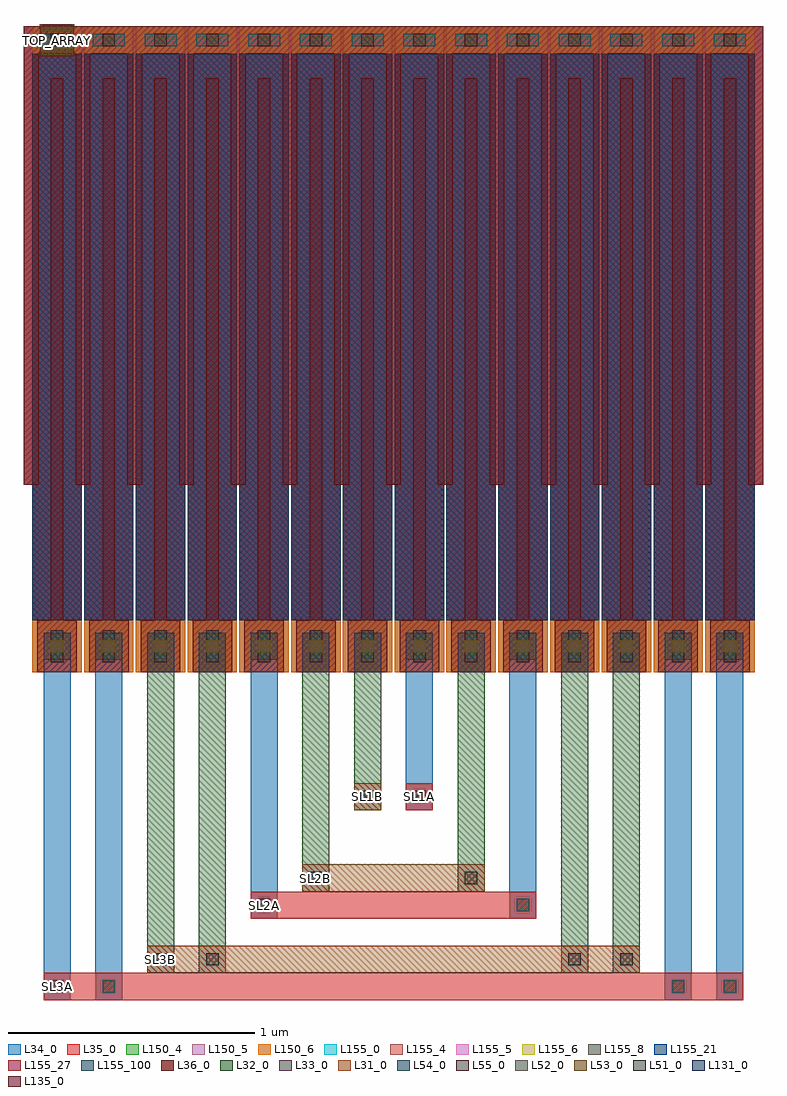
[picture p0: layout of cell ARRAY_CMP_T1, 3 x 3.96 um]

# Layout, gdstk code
from math import pi, radians
import gdstk
lib = gdstk.Library(unit=1e-6, precision=1e-09)
def R(c, l, rs):  # rectangles x0, y0, x1, y1
    for r in rs: c.add(gdstk.rectangle(r[:2], r[2:], *l))
def A(c, l, x, y, w, h, nx, ny, dx, dy):  # array of equal rectangles
    R(c, l, [(x+i*dx, y+j*dy, x+i*dx+w, y+j*dy+h) for i in range(nx) for j in range(ny)])
L31_0 = (31, 0)
L32_0 = (32, 0)
L33_0 = (33, 0)
L34_0 = (34, 0)
L35_0 = (35, 0)
L36_0 = (36, 0)
L51_0 = (51, 0)
L52_0 = (52, 0)
L53_0 = (53, 0)
L54_0 = (54, 0)
L55_0 = (55, 0)
L131_0 = (131, 0)
L135_0 = (135, 0)
L150_4 = (150, 4)
L150_5 = (150, 5)
L150_6 = (150, 6)
L155_0 = (155, 0)
L155_4 = (155, 4)
L155_5 = (155, 5)
L155_6 = (155, 6)
L155_8 = (155, 8)
L155_21 = (155, 21)
L155_27 = (155, 27)
L155_100 = (155, 100)

m5_m4_cdns_619517610567 = lib.new_cell('M5_M4_CDNS_619517610567')
R(m5_m4_cdns_619517610567, L34_0, [(-0.07,-0.105,0.07,0.105)])
R(m5_m4_cdns_619517610567, L35_0, [(-0.07,-0.105,0.07,0.105)])
R(m5_m4_cdns_619517610567, L54_0, [(-0.025,-0.065,0.025,0.065)])

m6_m5_cdns_619517610568 = lib.new_cell('M6_M5_CDNS_619517610568')
R(m6_m5_cdns_619517610568, L35_0, [(-0.07,-0.105,0.07,0.105)])
R(m6_m5_cdns_619517610568, L36_0, [(-0.055,-0.105,0.055,0.105)])
R(m6_m5_cdns_619517610568, L55_0, [(-0.025,-0.065,0.025,0.065)])

m5_m4_cdns_619517610569 = lib.new_cell('M5_M4_CDNS_619517610569')
R(m5_m4_cdns_619517610569, L34_0, [(-0.095,-0.055,0.095,0.055)])
R(m5_m4_cdns_619517610569, L35_0, [(-0.12,-0.055,0.12,0.055)])
R(m5_m4_cdns_619517610569, L54_0, [(-0.065,-0.025,0.065,0.025)])

m6_m5_cdns_6195176105610 = lib.new_cell('M6_M5_CDNS_6195176105610')
R(m6_m5_cdns_6195176105610, L35_0, [(-0.055,-0.055,0.055,0.055)])
R(m6_m5_cdns_6195176105610, L36_0, [(-0.055,-0.055,0.055,0.055)])
R(m6_m5_cdns_6195176105610, L55_0, [(-0.025,-0.025,0.025,0.025)])

cu1f = lib.new_cell('CU1F')
R(cu1f, L34_0, [(0.02,0,0.18,0.21), (-0.035,2.51,0.235,2.62)])
R(cu1f, L35_0, [(0.02,0,0.18,0.21), (-0.035,2.51,0.235,2.62)])
R(cu1f, L36_0, [(0.02,0,0.18,0.21), (-0.035,2.51,0.235,2.62)])
R(cu1f, L150_4, [(0,0,0.2,2.62)])
R(cu1f, L150_5, [(0,0,0.2,2.62)])
R(cu1f, L150_6, [(0,0,0.2,2.62)])
R(cu1f, L155_0, [(0,0.21,0.2,2.51)])
R(cu1f, L155_4, [(0,0.21,0.2,2.51)])
R(cu1f, L155_5, [(0,0.21,0.2,2.51)])
R(cu1f, L155_6, [(0,0.21,0.2,2.51)])
R(cu1f, L155_8, [(0,0.21,0.2,2.51)])
R(cu1f, L155_21, [(0,0.21,0.2,2.51)])
R(cu1f, L155_27, [(0,0.21,0.2,2.51)])
R(cu1f, L155_100, [(0,0.21,0.2,2.51)])
cu1f.add(gdstk.FlexPath([(0.205,2.59),(0.205,0.76)], 0.06, ends=(0.03, 0), simple_path=True, layer=34, datatype=0))  # L34_0
cu1f.add(gdstk.FlexPath([(0.1,2.41),(0.1,0)], 0.05, ends="flush", simple_path=True, layer=34, datatype=0))  # L34_0
cu1f.add(gdstk.FlexPath([(-0.005,2.59),(-0.005,0.76)], 0.06, ends=(0.03, 0), simple_path=True, layer=34, datatype=0))  # L34_0
cu1f.add(gdstk.FlexPath([(0.205,0.76),(0.205,2.59)], 0.06, ends=(0, 0.03), simple_path=True, layer=35, datatype=0))  # L35_0
cu1f.add(gdstk.FlexPath([(0.1,2.41),(0.1,0)], 0.05, ends="flush", simple_path=True, layer=35, datatype=0))  # L35_0
cu1f.add(gdstk.FlexPath([(-0.005,0.76),(-0.005,2.59)], 0.06, ends=(0, 0.03), simple_path=True, layer=35, datatype=0))  # L35_0
cu1f.add(gdstk.FlexPath([(0.205,0.76),(0.205,2.59)], 0.06, ends=(0, 0.03), simple_path=True, layer=36, datatype=0))  # L36_0
cu1f.add(gdstk.FlexPath([(0.1,2.41),(0.1,0)], 0.05, ends="flush", simple_path=True, layer=36, datatype=0))  # L36_0
cu1f.add(gdstk.FlexPath([(-0.005,0.76),(-0.005,2.59)], 0.06, ends=(0, 0.03), simple_path=True, layer=36, datatype=0))  # L36_0
cu1f.add(gdstk.Reference(m5_m4_cdns_619517610567, (0.1,0.105), rotation=pi, x_reflection=True))
cu1f.add(gdstk.Reference(m6_m5_cdns_619517610568, (0.1,0.105), rotation=pi, x_reflection=True))
cu1f.add(gdstk.Reference(m5_m4_cdns_619517610569, (0.1,2.565)))
cu1f.add(gdstk.Reference(m6_m5_cdns_6195176105610, (0.1,2.565)))

m2_m1_cdns_619517610560 = lib.new_cell('M2_M1_CDNS_619517610560')
R(m2_m1_cdns_619517610560, L31_0, [(-0.055,-0.055,0.055,0.055)])
R(m2_m1_cdns_619517610560, L32_0, [(-0.055,-0.055,0.055,0.055)])
R(m2_m1_cdns_619517610560, L51_0, [(-0.025,-0.025,0.025,0.025)])

m3_m2_cdns_619517610561 = lib.new_cell('M3_M2_CDNS_619517610561')
R(m3_m2_cdns_619517610561, L32_0, [(-0.055,-0.055,0.055,0.055)])
R(m3_m2_cdns_619517610561, L33_0, [(-0.055,-0.055,0.055,0.055)])
R(m3_m2_cdns_619517610561, L52_0, [(-0.025,-0.025,0.025,0.025)])

m4_m3_cdns_619517610562 = lib.new_cell('M4_M3_CDNS_619517610562')
R(m4_m3_cdns_619517610562, L33_0, [(-0.055,-0.055,0.055,0.055)])
R(m4_m3_cdns_619517610562, L34_0, [(-0.055,-0.055,0.055,0.055)])
R(m4_m3_cdns_619517610562, L53_0, [(-0.025,-0.025,0.025,0.025)])

m4_m3_cdns_619517610563 = lib.new_cell('M4_M3_CDNS_619517610563')
R(m4_m3_cdns_619517610563, L33_0, [(-0.07,-0.065,0.07,0.065)])
R(m4_m3_cdns_619517610563, L34_0, [(-0.055,-0.055,0.055,0.055)])
R(m4_m3_cdns_619517610563, L53_0, [(-0.025,-0.025,0.025,0.025)])

m3_m2_cdns_619517610564 = lib.new_cell('M3_M2_CDNS_619517610564')
R(m3_m2_cdns_619517610564, L32_0, [(-0.065,-0.06,0.065,0.06)])
R(m3_m2_cdns_619517610564, L33_0, [(-0.07,-0.065,0.07,0.065)])
R(m3_m2_cdns_619517610564, L52_0, [(-0.025,-0.025,0.025,0.025)])

m2_m1_cdns_619517610565 = lib.new_cell('M2_M1_CDNS_619517610565')
R(m2_m1_cdns_619517610565, L31_0, [(-0.055,-0.055,0.055,0.055)])
R(m2_m1_cdns_619517610565, L32_0, [(-0.065,-0.06,0.065,0.06)])
R(m2_m1_cdns_619517610565, L51_0, [(-0.025,-0.025,0.025,0.025)])

m5_m4_cdns_619517610566 = lib.new_cell('M5_M4_CDNS_619517610566')
R(m5_m4_cdns_619517610566, L34_0, [(-0.055,-0.055,0.055,0.055)])
R(m5_m4_cdns_619517610566, L35_0, [(-0.055,-0.055,0.055,0.055)])
R(m5_m4_cdns_619517610566, L54_0, [(-0.025,-0.025,0.025,0.025)])

array_cmp_t1 = lib.new_cell('ARRAY_CMP_T1')
R(array_cmp_t1, L31_0, [(0.465,-1.22,2.465,-1.11), (1.095,-0.89,1.835,-0.78), (1.305,-0.56,1.415,-0.45), (0.03,2.5,0.17,2.63)])
R(array_cmp_t1, L32_0, [(0.465,-1.22,0.575,0.16), (0.675,-1.22,0.785,0.16), (2.145,-1.22,2.255,0.16), (2.355,-1.22,2.465,0.16), (1.095,-0.89,1.205,0.16), (1.725,-0.89,1.835,0.16), (1.305,-0.56,1.415,0.16)])
A(array_cmp_t1, L33_0, 0.045, 0, 0.11, 0.16, 14, 1, 0.21, 0)
R(array_cmp_t1, L34_0, [(0.045,-1.33,0.155,0.16), (0.255,-1.33,0.365,0.16), (2.565,-1.33,2.675,0.16), (2.775,-1.33,2.885,0.16), (0.885,-1,0.995,0.16), (1.935,-1,2.045,0.16), (1.515,-0.56,1.625,0.16)])
R(array_cmp_t1, L35_0, [(0.045,-1.33,2.885,-1.22), (0.885,-1,2.045,-0.89), (1.515,-0.56,1.625,-0.45)])
R(array_cmp_t1, L131_0, [(0.495,-1.19,0.545,-1.14), (1.125,-0.86,1.175,-0.81), (1.335,-0.53,1.385,-0.48), (0.075,2.54,0.125,2.59)])
R(array_cmp_t1, L135_0, [(0.075,-1.3,0.125,-1.25), (0.915,-0.97,0.965,-0.92), (1.545,-0.53,1.595,-0.48)])
array_cmp_t1.add(gdstk.Reference(cu1f, (2.73,0)))
array_cmp_t1.add(gdstk.Reference(cu1f, (2.52,0)))
array_cmp_t1.add(gdstk.Reference(cu1f, (2.31,0)))
array_cmp_t1.add(gdstk.Reference(cu1f, (2.1,0)))
array_cmp_t1.add(gdstk.Reference(cu1f, (1.89,0)))
array_cmp_t1.add(gdstk.Reference(cu1f, (1.68,0)))
array_cmp_t1.add(gdstk.Reference(cu1f, (1.47,0)))
array_cmp_t1.add(gdstk.Reference(cu1f, (1.26,0)))
array_cmp_t1.add(gdstk.Reference(cu1f, (1.05,0)))
array_cmp_t1.add(gdstk.Reference(cu1f, (0.84,0)))
array_cmp_t1.add(gdstk.Reference(cu1f, (0.63,0)))
array_cmp_t1.add(gdstk.Reference(cu1f, (0.42,0)))
array_cmp_t1.add(gdstk.Reference(cu1f, (0.21,0)))
array_cmp_t1.add(gdstk.Reference(cu1f, (0,0)))
array_cmp_t1.add(gdstk.Reference(m2_m1_cdns_619517610560, (1.36,-0.505)))
array_cmp_t1.add(gdstk.Reference(m2_m1_cdns_619517610560, (1.15,-0.835)))
array_cmp_t1.add(gdstk.Reference(m2_m1_cdns_619517610560, (1.78,-0.835)))
array_cmp_t1.add(gdstk.Reference(m2_m1_cdns_619517610560, (0.73,-1.165)))
array_cmp_t1.add(gdstk.Reference(m2_m1_cdns_619517610560, (0.52,-1.165)))
array_cmp_t1.add(gdstk.Reference(m2_m1_cdns_619517610560, (2.2,-1.165)))
array_cmp_t1.add(gdstk.Reference(m2_m1_cdns_619517610560, (2.41,-1.165)))
array_cmp_t1.add(gdstk.Reference(m3_m2_cdns_619517610561, (0.1,0.105)))
array_cmp_t1.add(gdstk.Reference(m3_m2_cdns_619517610561, (0.31,0.105)))
array_cmp_t1.add(gdstk.Reference(m3_m2_cdns_619517610561, (0.52,0.105)))
array_cmp_t1.add(gdstk.Reference(m3_m2_cdns_619517610561, (0.73,0.105)))
array_cmp_t1.add(gdstk.Reference(m3_m2_cdns_619517610561, (0.94,0.105)))
array_cmp_t1.add(gdstk.Reference(m3_m2_cdns_619517610561, (1.15,0.105)))
array_cmp_t1.add(gdstk.Reference(m3_m2_cdns_619517610561, (1.36,0.105)))
array_cmp_t1.add(gdstk.Reference(m3_m2_cdns_619517610561, (1.57,0.105)))
array_cmp_t1.add(gdstk.Reference(m3_m2_cdns_619517610561, (1.78,0.105)))
array_cmp_t1.add(gdstk.Reference(m3_m2_cdns_619517610561, (1.99,0.105)))
array_cmp_t1.add(gdstk.Reference(m3_m2_cdns_619517610561, (2.2,0.105)))
array_cmp_t1.add(gdstk.Reference(m3_m2_cdns_619517610561, (2.41,0.105)))
array_cmp_t1.add(gdstk.Reference(m3_m2_cdns_619517610561, (2.62,0.105)))
array_cmp_t1.add(gdstk.Reference(m3_m2_cdns_619517610561, (2.83,0.105)))
array_cmp_t1.add(gdstk.Reference(m4_m3_cdns_619517610562, (0.1,0.105)))
array_cmp_t1.add(gdstk.Reference(m4_m3_cdns_619517610562, (0.31,0.105)))
array_cmp_t1.add(gdstk.Reference(m4_m3_cdns_619517610562, (0.52,0.105)))
array_cmp_t1.add(gdstk.Reference(m4_m3_cdns_619517610562, (0.73,0.105)))
array_cmp_t1.add(gdstk.Reference(m4_m3_cdns_619517610562, (0.94,0.105)))
array_cmp_t1.add(gdstk.Reference(m4_m3_cdns_619517610562, (1.15,0.105)))
array_cmp_t1.add(gdstk.Reference(m4_m3_cdns_619517610562, (1.36,0.105)))
array_cmp_t1.add(gdstk.Reference(m4_m3_cdns_619517610562, (1.57,0.105)))
array_cmp_t1.add(gdstk.Reference(m4_m3_cdns_619517610562, (1.78,0.105)))
array_cmp_t1.add(gdstk.Reference(m4_m3_cdns_619517610562, (1.99,0.105)))
array_cmp_t1.add(gdstk.Reference(m4_m3_cdns_619517610562, (2.2,0.105)))
array_cmp_t1.add(gdstk.Reference(m4_m3_cdns_619517610562, (2.41,0.105)))
array_cmp_t1.add(gdstk.Reference(m4_m3_cdns_619517610562, (2.62,0.105)))
array_cmp_t1.add(gdstk.Reference(m4_m3_cdns_619517610562, (2.83,0.105)))
array_cmp_t1.add(gdstk.Reference(m4_m3_cdns_619517610563, (0.1,2.565)))
array_cmp_t1.add(gdstk.Reference(m3_m2_cdns_619517610564, (0.1,2.565)))
array_cmp_t1.add(gdstk.Reference(m2_m1_cdns_619517610565, (0.1,2.565)))
array_cmp_t1.add(gdstk.Reference(m5_m4_cdns_619517610566, (0.94,-0.945)))
array_cmp_t1.add(gdstk.Reference(m5_m4_cdns_619517610566, (1.99,-0.945)))
array_cmp_t1.add(gdstk.Reference(m5_m4_cdns_619517610566, (1.57,-0.505)))
array_cmp_t1.add(gdstk.Reference(m5_m4_cdns_619517610566, (2.83,-1.275)))
array_cmp_t1.add(gdstk.Reference(m5_m4_cdns_619517610566, (0.31,-1.275)))
array_cmp_t1.add(gdstk.Reference(m5_m4_cdns_619517610566, (2.62,-1.275)))
array_cmp_t1.add(gdstk.Reference(m5_m4_cdns_619517610566, (0.1,-1.275)))
array_cmp_t1.add(gdstk.Label('SL3A', (0.1,-1.275), layer=135, texttype=0))
array_cmp_t1.add(gdstk.Label('SL1A', (1.57,-0.505), layer=135, texttype=0))
array_cmp_t1.add(gdstk.Label('SL2A', (0.94,-0.945), layer=135, texttype=0))
array_cmp_t1.add(gdstk.Label('SL3B', (0.52,-1.165), layer=131, texttype=0))
array_cmp_t1.add(gdstk.Label('SL1B', (1.36,-0.505), layer=131, texttype=0))
array_cmp_t1.add(gdstk.Label('SL2B', (1.15,-0.835), layer=131, texttype=0))
array_cmp_t1.add(gdstk.Label('TOP_ARRAY', (0.098,2.565), layer=131, texttype=0))

lib.write_gds('ARRAY_CMP_T1.gds')
